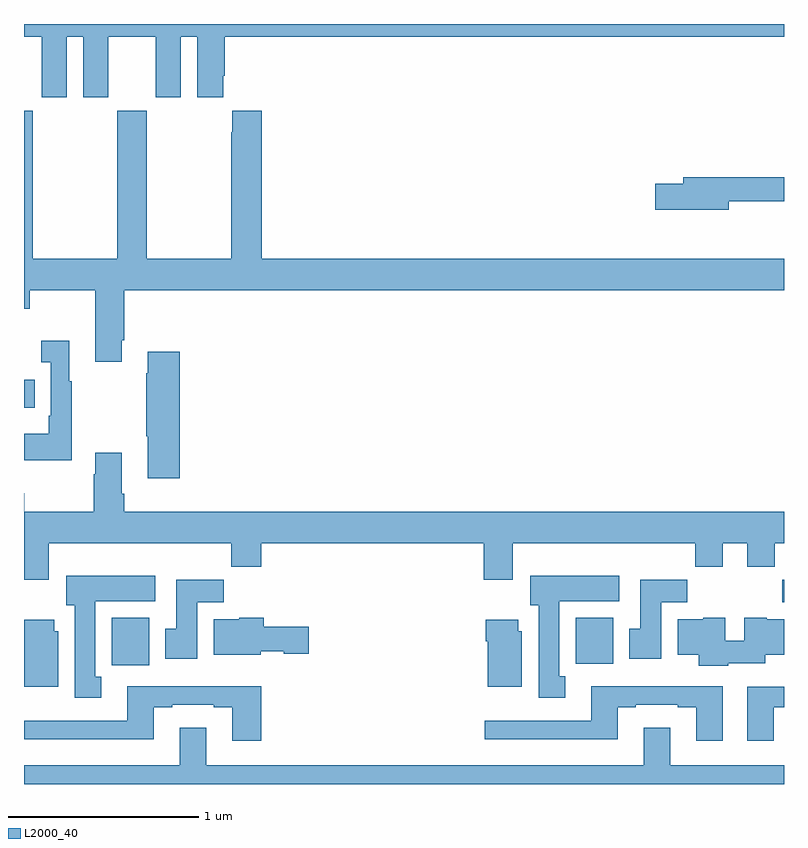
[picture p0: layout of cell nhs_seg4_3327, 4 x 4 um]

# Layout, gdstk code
import gdstk
lib = gdstk.Library(unit=1e-6, precision=1e-09)
def R(c, l, rs):  # rectangles x0, y0, x1, y1
    for r in rs: c.add(gdstk.rectangle(r[:2], r[2:], *l))
def P(c, l, *ps):  # polygons
    for p in ps: c.add(gdstk.Polygon(p, *l))
L2000_40 = (2000, 40)

nhs_seg4_3327 = lib.new_cell('nhs_seg4_3327')
R(nhs_seg4_3327, L2000_40, [(287.463,781.524,287.659,781.774), (289.904,781.532,290.101,781.774), (290.992,781.856,291,781.975), (287,782.879,287.057,783.027)])
P(nhs_seg4_3327, L2000_40, [(291,784.9),(287,784.9),(287,784.832),(287.093,784.832),(287.093,784.515),(287.224,784.515),(287.224,784.832),(287.312,784.832),(287.312,784.515),(287.443,784.515),(287.443,784.832),(287.693,784.832),(287.693,784.515),(287.824,784.515),(287.824,784.832),(287.912,784.832),(287.912,784.515),(288.049,784.515),(288.049,784.627),(288.056,784.627),(288.056,784.832),(291,784.832)],
  [(287.515,783.235),(287.528,783.235),(287.528,783.5),(291,783.5),(291,783.664),(288.251,783.664),(288.251,784.444),(288.095,784.444),(288.095,784.331),(288.091,784.331),(288.091,783.664),(287.646,783.664),(287.646,784.444),(287.491,784.444),(287.491,783.664),(287.046,783.664),(287.046,784.444),(287,784.444),(287,783.401),(287.031,783.401),(287.031,783.5),(287.375,783.5),(287.375,783.123),(287.515,783.123)],
  [(290.71,783.966),(291,783.966),(291,784.094),(290.471,784.094),(290.471,784.058),(290.322,784.058),(290.322,783.923),(290.71,783.923)],
  [(287.251,783.019),(287.239,783.019),(287.239,783.232),(287.091,783.232),(287.091,783.119),(287.142,783.119),(287.142,782.839),(287.13,782.839),(287.13,782.743),(287,782.743),(287,782.603),(287.251,782.603)],
  [(287.819,783.175),(287.651,783.175),(287.651,783.062),(287.644,783.062),(287.644,782.731),(287.651,782.731),(287.651,782.508),(287.819,782.508)],
  [(287.131,782.168),(288.091,782.168),(288.091,782.044),(288.248,782.044),(288.248,782.168),(289.421,782.168),(289.421,781.974),(289.573,781.974),(289.573,782.168),(290.533,782.168),(290.533,782.044),(290.677,782.044),(290.677,782.168),(290.807,782.168),(290.807,782.044),(290.951,782.044),(290.951,782.168),(291,782.168),(291,782.332),(287.528,782.332),(287.528,782.428),(287.515,782.428),(287.515,782.644),(287.375,782.644),(287.375,782.531),(287.368,782.531),(287.368,782.332),(287.001,782.332),(287.001,782.431),(287,782.431),(287,781.974),(287.131,781.974)],
  [(289.849,781.466),(289.816,781.466),(289.816,781.862),(290.134,781.862),(290.134,781.996),(289.664,781.996),(289.664,781.842),(289.709,781.842),(289.709,781.353),(289.849,781.353)],
  [(287.407,781.465),(287.374,781.465),(287.374,781.862),(287.692,781.862),(287.692,781.996),(287.222,781.996),(287.222,781.842),(287.267,781.842),(287.267,781.353),(287.407,781.353)],
  [(290.353,781.856),(290.492,781.856),(290.492,781.975),(290.243,781.975),(290.243,781.716),(290.186,781.716),(290.186,781.56),(290.353,781.56)],
  [(287.911,781.856),(288.05,781.856),(288.05,781.975),(287.801,781.975),(287.801,781.716),(287.744,781.716),(287.744,781.56),(287.911,781.56)],
  [(290.706,781.535),(290.902,781.535),(290.902,781.58),(291,781.58),(291,781.768),(290.91,781.768),(290.91,781.774),(290.792,781.774),(290.792,781.653),(290.692,781.653),(290.692,781.774),(290.574,781.774),(290.574,781.768),(290.441,781.768),(290.441,781.58),(290.552,781.58),(290.552,781.523),(290.706,781.523)],
  [(288.246,781.598),(288.366,781.598),(288.366,781.586),(288.499,781.586),(288.499,781.728),(288.263,781.728),(288.263,781.774),(288.132,781.774),(288.132,781.768),(287.999,781.768),(287.999,781.58),(288.246,781.58)],
  [(287.179,781.704),(287.158,781.704),(287.158,781.765),(287,781.765),(287,781.412),(287.179,781.412)],
  [(289.621,781.704),(289.6,781.704),(289.6,781.765),(289.43,781.765),(289.43,781.652),(289.442,781.652),(289.442,781.412),(289.621,781.412)],
  [(290.677,781.414),(289.985,781.414),(289.985,781.233),(289.425,781.233),(289.425,781.136),(290.125,781.136),(290.125,781.305),(290.221,781.305),(290.221,781.317),(290.441,781.317),(290.441,781.305),(290.537,781.305),(290.537,781.128),(290.677,781.128)],
  [(288.248,781.414),(287.543,781.414),(287.543,781.233),(287,781.233),(287,781.136),(287.683,781.136),(287.683,781.305),(287.779,781.305),(287.779,781.317),(287.999,781.317),(287.999,781.305),(288.095,781.305),(288.095,781.128),(288.248,781.128)],
  [(290.947,781.305),(291,781.305),(291,781.413),(290.807,781.413),(290.807,781.128),(290.947,781.128)],
  [(291,781),(290.401,781),(290.401,781.195),(290.261,781.195),(290.261,781),(287.959,781),(287.959,781.195),(287.819,781.195),(287.819,781),(287,781),(287,780.9),(291,780.9)])

lib.write_gds('nhs_seg4_3327.gds')
